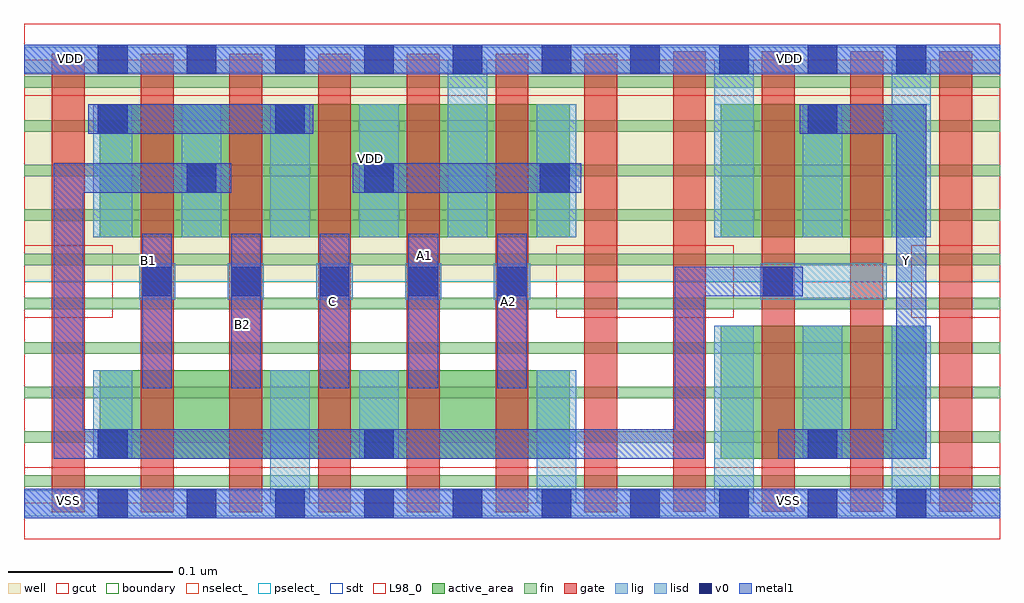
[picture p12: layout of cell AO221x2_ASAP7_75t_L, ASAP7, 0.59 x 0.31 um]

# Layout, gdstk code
import gdstk
lib = gdstk.Library(unit=1e-6, precision=2.5e-10)
def R(c, l, rs):  # rectangles x0, y0, x1, y1
    for r in rs: c.add(gdstk.rectangle(r[:2], r[2:], *l))
def A(c, l, x, y, w, h, nx, ny, dx, dy):  # array of equal rectangles
    R(c, l, [(x+i*dx, y+j*dy, x+i*dx+w, y+j*dy+h) for i in range(nx) for j in range(ny)])
def P(c, l, *ps):  # polygons
    for p in ps: c.add(gdstk.Polygon(p, *l))
well = (1, 0)
fin = (2, 0)
gate = (7, 0)
gcut = (10, 0)
active_area = (11, 0)
nselect_ = (12, 0)
pselect_ = (13, 0)
lig = (16, 0)
lisd = (17, 0)
v0 = (18, 0)
metal1 = (19, 0)
sdt = (88, 0)
L98_0 = (98, 0)
boundary = (100, 0)

ao221x2_asap7_75t_l = lib.new_cell('AO221x2_ASAP7_75t_L')
R(ao221x2_asap7_75t_l, well, [(0,0.135,0.594,0.27)])
A(ao221x2_asap7_75t_l, fin, 0, 0.01, 0.594, 0.007, 1, 10, 0, 0.027)
A(ao221x2_asap7_75t_l, gate, 0.017, -0.0055, 0.02, 0.279, 7, 1, 0.054, 0)
A(ao221x2_asap7_75t_l, gate, 0.395, -0.005, 0.02, 0.28, 4, 1, 0.054, 0)
R(ao221x2_asap7_75t_l, gcut, [(0,-0.022,0.594,0.022), (0,0.113,0.054,0.157), (0.324,0.113,0.432,0.157), (0.54,0.113,0.594,0.157), (0,0.248,0.594,0.292)])
R(ao221x2_asap7_75t_l, active_area, [(0.046,0.027,0.332,0.081), (0.424,0.027,0.548,0.108), (0.046,0.162,0.332,0.243), (0.424,0.162,0.548,0.243)])
R(ao221x2_asap7_75t_l, nselect_, [(0,0,0.594,0.135)])
R(ao221x2_asap7_75t_l, pselect_, [(0,0.135,0.594,0.27)])
A(ao221x2_asap7_75t_l, lig, 0.07, 0.124, 0.022, 0.022, 5, 1, 0.054, 0)
R(ao221x2_asap7_75t_l, lig, [(0,-0.008,0.594,0.008), (0.448,0.124,0.525,0.146), (0,0.262,0.594,0.278)])
A(ao221x2_asap7_75t_l, lisd, 0.042, 0.162, 0.024, 0.081, 4, 1, 0.054, 0)
R(ao221x2_asap7_75t_l, lisd, [(0.15,0,0.174,0.081), (0.312,0,0.336,0.081), (0.42,0,0.444,0.108), (0.528,0,0.552,0.108), (0.042,0.027,0.066,0.081), (0.204,0.027,0.228,0.081), (0.474,0.027,0.498,0.108), (0.258,0.162,0.282,0.27), (0.312,0.162,0.336,0.243), (0.42,0.162,0.444,0.27), (0.474,0.162,0.498,0.243), (0.528,0.162,0.552,0.27)])
A(ao221x2_asap7_75t_l, v0, 0.045, -0.009, 0.018, 0.018, 10, 2, 0.054, 0.27)
A(ao221x2_asap7_75t_l, v0, 0.072, 0.126, 0.018, 0.018, 5, 1, 0.054, 0)
R(ao221x2_asap7_75t_l, v0, [(0.045,0.027,0.063,0.045), (0.207,0.027,0.225,0.045), (0.477,0.027,0.495,0.045), (0.45,0.126,0.468,0.144), (0.099,0.189,0.117,0.207), (0.207,0.189,0.225,0.207), (0.314,0.189,0.332,0.207), (0.045,0.225,0.063,0.243), (0.153,0.225,0.171,0.243), (0.477,0.225,0.495,0.243)])
A(ao221x2_asap7_75t_l, metal1, 0.072, 0.07, 0.018, 0.094, 5, 1, 0.054, 0)
R(ao221x2_asap7_75t_l, metal1, [(0,-0.009,0.594,0.009), (0.2,0.189,0.339,0.207), (0.039,0.225,0.176,0.243), (0,0.261,0.594,0.279)])
P(ao221x2_asap7_75t_l, metal1, [(0.549,0.243),(0.472,0.243),(0.472,0.225),(0.531,0.225),(0.531,0.045),(0.459,0.045),(0.459,0.027),(0.549,0.027)],
  [(0.474,0.144),(0.396,0.144),(0.396,0.045),(0.036,0.045),(0.036,0.189),(0.126,0.189),(0.126,0.207),(0.018,0.207),(0.018,0.027),(0.414,0.027),(0.414,0.126),(0.474,0.126)])
A(ao221x2_asap7_75t_l, sdt, 0.42, 0.027, 0.024, 0.081, 3, 2, 0.054, 0.135)
A(ao221x2_asap7_75t_l, sdt, 0.042, 0.162, 0.024, 0.081, 6, 1, 0.054, 0)
R(ao221x2_asap7_75t_l, sdt, [(0.042,0.027,0.066,0.081), (0.15,0.027,0.174,0.081), (0.204,0.027,0.228,0.081), (0.312,0.027,0.336,0.081)])
R(ao221x2_asap7_75t_l, L98_0, [(0,0,0.594,0.27)])
R(ao221x2_asap7_75t_l, boundary, [(0,0,0.594,0.27)])
ao221x2_asap7_75t_l.add(gdstk.Label('VSS', (0.238,-0.057), layer=3, texttype=251))
ao221x2_asap7_75t_l.add(gdstk.Label('VDD', (0.211,0.21), layer=1, texttype=251))
ao221x2_asap7_75t_l.add(gdstk.Label('A1', (0.244,0.151), layer=19, texttype=251))
ao221x2_asap7_75t_l.add(gdstk.Label('VSS', (0.465,0.002), layer=19, texttype=251))
ao221x2_asap7_75t_l.add(gdstk.Label('C', (0.188,0.123), layer=19, texttype=251))
ao221x2_asap7_75t_l.add(gdstk.Label('B2', (0.133,0.109), layer=19, texttype=251))
ao221x2_asap7_75t_l.add(gdstk.Label('B1', (0.076,0.148), layer=19, texttype=251))
ao221x2_asap7_75t_l.add(gdstk.Label('A2', (0.295,0.123), layer=19, texttype=251))
ao221x2_asap7_75t_l.add(gdstk.Label('VDD', (0.028,0.2705), layer=19, texttype=251))
ao221x2_asap7_75t_l.add(gdstk.Label('VSS', (0.027,0.0015), layer=19, texttype=251))
ao221x2_asap7_75t_l.add(gdstk.Label('VDD', (0.466,0.271), layer=19, texttype=251))
ao221x2_asap7_75t_l.add(gdstk.Label('Y', (0.537,0.1475), layer=19, texttype=251))

lib.write_gds('AO221x2_ASAP7_75t_L.gds')
